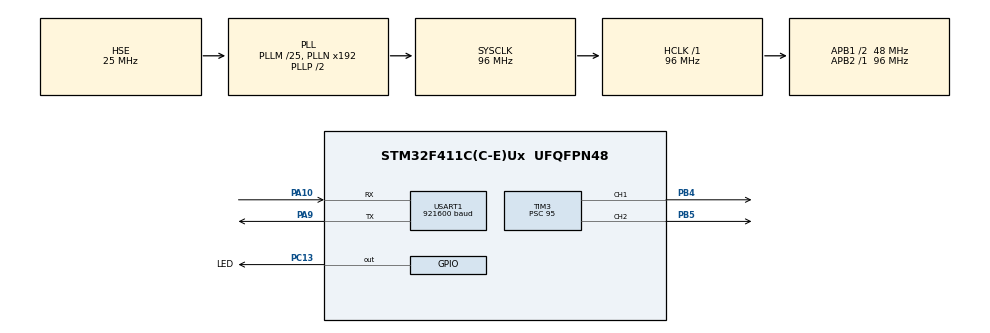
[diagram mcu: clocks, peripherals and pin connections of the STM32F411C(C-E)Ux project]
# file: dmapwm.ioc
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Dma.Request0=TIM3_CH1/TRIG
Dma.Request1=TIM3_CH2
Dma.TIM3_CH1/TRIG.0.Direction=DMA_MEMORY_TO_PERIPH
Dma.TIM3_CH1/TRIG.0.FIFOMode=DMA_FIFOMODE_DISABLE
Dma.TIM3_CH1/TRIG.0.Instance=DMA1_Stream4
Dma.TIM3_CH1/TRIG.0.MemDataAlignment=DMA_MDATAALIGN_HALFWORD
Dma.TIM3_CH1/TRIG.0.MemInc=DMA_MINC_ENABLE
Dma.TIM3_CH1/TRIG.0.Mode=DMA_CIRCULAR
Dma.TIM3_CH1/TRIG.0.PeriphDataAlignment=DMA_PDATAALIGN_HALFWORD
Dma.TIM3_CH1/TRIG.0.PeriphInc=DMA_PINC_DISABLE
Dma.TIM3_CH1/TRIG.0.Priority=DMA_PRIORITY_LOW
Dma.TIM3_CH2.1.Direction=DMA_MEMORY_TO_PERIPH
Dma.TIM3_CH2.1.FIFOMode=DMA_FIFOMODE_DISABLE
Dma.TIM3_CH2.1.Instance=DMA1_Stream5
Dma.TIM3_CH2.1.MemDataAlignment=DMA_MDATAALIGN_HALFWORD
Dma.TIM3_CH2.1.MemInc=DMA_MINC_ENABLE
Dma.TIM3_CH2.1.Mode=DMA_CIRCULAR
Dma.TIM3_CH2.1.PeriphDataAlignment=DMA_PDATAALIGN_HALFWORD
Dma.TIM3_CH2.1.PeriphInc=DMA_PINC_DISABLE
Dma.TIM3_CH2.1.Priority=DMA_PRIORITY_LOW
FREERTOS.Queues01=pwm1Queue,16,uint32_t,0,Dynamic,NULL,NULL;pwm2Queue,16,uint32_t,0,Dynamic,NULL,NULL
FREERTOS.Tasks01=defaultTask,24,128,startDefaultTask,Default,NULL,Dynamic,NULL,NULL;ledTask,8,128,startLedTask,Default,NULL,Dynamic,NULL,NULL;pwmBuf1Task,8,128,startPwmBuf1Task,Default,NULL,Dynamic,NULL,NULL;pwmBuf2Task,8,128,startPwmBuf2Task,Default,NULL,Dynamic,NULL,NULL;statusTask,8,256,startStatusTask,Default,NULL,Dynamic,NULL,NULL
FREERTOS.configCHECK_FOR_STACK_OVERFLOW=2
FREERTOS.configENABLE_BACKWARD_COMPATIBILITY=1
FREERTOS.configGENERATE_RUN_TIME_STATS=1
FREERTOS.configRECORD_STACK_HIGH_ADDRESS=1
FREERTOS.configTIMER_TASK_STACK_DEPTH=128
FREERTOS.configUSE_NEWLIB_REENTRANT=1
FREERTOS.configUSE_STATS_FORMATTING_FUNCTIONS=1
Mcu.Family=STM32F4
Mcu.Name=STM32F411C(C-E)Ux
Mcu.Package=UFQFPN48
Mcu.UserConstants=PWM_CNT,999
NVIC.DMA1_Stream4_IRQn=true\:5\:0\:false\:false\:true\:true\:false\:true
NVIC.DMA1_Stream5_IRQn=true\:5\:0\:false\:false\:true\:true\:false\:true
NVIC.PriorityGroup=NVIC_PRIORITYGROUP_4
NVIC.TIM1_TRG_COM_TIM11_IRQn=true\:15\:0\:false\:false\:true\:false\:false\:true
NVIC.TIM1_UP_TIM10_IRQn=true\:5\:0\:false\:false\:true\:true\:true\:true
NVIC.TIM3_IRQn=true\:5\:0\:false\:false\:true\:true\:true\:true
NVIC.TimeBase=TIM1_TRG_COM_TIM11_IRQn
NVIC.TimeBaseIP=TIM11
NVIC.USART1_IRQn=true\:5\:0\:false\:false\:true\:true\:true\:true
PA10.Mode=Asynchronous
PA10.Signal=USART1_RX
PA13.Mode=Serial_Wire
PA13.Signal=SYS_JTMS-SWDIO
PA14.Mode=Serial_Wire
PA14.Signal=SYS_JTCK-SWCLK
PA9.Mode=Asynchronous
PA9.Signal=USART1_TX
PB4.Signal=S_TIM3_CH1
PB5.Signal=S_TIM3_CH2
PC13-ANTI_TAMP.GPIO_Label=LED
PC13-ANTI_TAMP.GPIO_ModeDefaultOutputPP=GPIO_MODE_OUTPUT_OD
PC13-ANTI_TAMP.Signal=GPIO_Output
PH0\ -\ OSC_IN.Mode=HSE-External-Oscillator
PH0\ -\ OSC_IN.Signal=RCC_OSC_IN
PH1\ -\ OSC_OUT.Mode=HSE-External-Oscillator
PH1\ -\ OSC_OUT.Signal=RCC_OSC_OUT
ProjectManager.HeapSize=0x200
ProjectManager.StackSize=0x400
ProjectManager.TargetToolchain=STM32CubeIDE
RCC.48MHZClocksFreq_Value=48000000
RCC.AHBFreq_Value=96000000
RCC.APB1CLKDivider=RCC_HCLK_DIV2
RCC.APB1Freq_Value=48000000
RCC.APB1TimFreq_Value=96000000
RCC.APB2Freq_Value=96000000
RCC.APB2TimFreq_Value=96000000
RCC.CortexFreq_Value=96000000
RCC.HCLKFreq_Value=96000000
RCC.HSE_VALUE=25000000
RCC.HSI_VALUE=16000000
RCC.LSE_VALUE=32768
RCC.PLLM=25
RCC.PLLSourceVirtual=RCC_PLLSOURCE_HSE
RCC.SYSCLKFreq_VALUE=96000000
RCC.SYSCLKSource=RCC_SYSCLKSOURCE_PLLCLK
RCC.VCOOutputFreq_Value=192000000
SH.S_TIM3_CH1.0=TIM3_CH1,PWM Generation1 CH1
SH.S_TIM3_CH2.0=TIM3_CH2,PWM Generation2 CH2
TIM10.Period=959
TIM3.Channel-PWM\ Generation1\ CH1=TIM_CHANNEL_1
TIM3.Channel-PWM\ Generation2\ CH2=TIM_CHANNEL_2
TIM3.Period=PWM_CNT
TIM3.Prescaler=95
USART1.BaudRate=921600
USART1.VirtualMode=VM_ASYNC
VP_FREERTOS_VS_CMSIS_V2.Mode=CMSIS_V2
VP_SYS_VS_tim11.Mode=TIM11
VP_TIM10_VS_ClockSourceINT.Mode=Enable_Timer
VP_TIM3_VS_ClockSourceINT.Mode=Internal
board=custom

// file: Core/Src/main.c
/* USER CODE BEGIN Header */
/**
 ******************************************************************************
 * @file           : main.c
 * @brief          : Main program body
 ******************************************************************************
 * @attention
 *
 * <h2><center>&copy; Copyright (c) 2021 STMicroelectronics.
 * All rights reserved.</center></h2>
 *
 * This software component is licensed by ST under BSD 3-Clause license,
 * the "License"; You may not use this file except in compliance with the
 * License. You may obtain a copy of the License at:
 *                        opensource.org/licenses/BSD-3-Clause
 *
 ******************************************************************************
 */
/* USER CODE END Header */
#include "main.h"
#include "cmsis_os.h"

/* USER CODE BEGIN Includes */
#include "stdio.h"
/* USER CODE END Includes */

/* USER CODE BEGIN PD */
#define BUFFER_SIZE 10
/* USER CODE END PD */

TIM_HandleTypeDef htim3;
TIM_HandleTypeDef htim10;
DMA_HandleTypeDef hdma_tim3_ch1_trig;
DMA_HandleTypeDef hdma_tim3_ch2;

UART_HandleTypeDef huart1;

/* Definitions for defaultTask */
osThreadId_t defaultTaskHandle;
const osThreadAttr_t defaultTask_attributes = {
  .name = "defaultTask",
  .stack_size = 128 * 4,
  .priority = (osPriority_t) osPriorityNormal,
};
/* Definitions for ledTask */
osThreadId_t ledTaskHandle;
const osThreadAttr_t ledTask_attributes = {
  .name = "ledTask",
  .stack_size = 128 * 4,
  .priority = (osPriority_t) osPriorityLow,
};
/* Definitions for pwmBuf1Task */
osThreadId_t pwmBuf1TaskHandle;
const osThreadAttr_t pwmBuf1Task_attributes = {
  .name = "pwmBuf1Task",
  .stack_size = 128 * 4,
  .priority = (osPriority_t) osPriorityLow,
};
/* Definitions for pwmBuf2Task */
osThreadId_t pwmBuf2TaskHandle;
const osThreadAttr_t pwmBuf2Task_attributes = {
  .name = "pwmBuf2Task",
  .stack_size = 128 * 4,
  .priority = (osPriority_t) osPriorityLow,
};
/* Definitions for statusTask */
osThreadId_t statusTaskHandle;
const osThreadAttr_t statusTask_attributes = {
  .name = "statusTask",
  .stack_size = 256 * 4,
  .priority = (osPriority_t) osPriorityLow,
};
/* Definitions for pwm1Queue */
osMessageQueueId_t pwm1QueueHandle;
const osMessageQueueAttr_t pwm1Queue_attributes = {
  .name = "pwm1Queue"
};
/* Definitions for pwm2Queue */
osMessageQueueId_t pwm2QueueHandle;
const osMessageQueueAttr_t pwm2Queue_attributes = {
  .name = "pwm2Queue"
};
/* USER CODE BEGIN PV */

volatile unsigned long ulHighFrequencyTimerTicks;

uint16_t dma_buffer1[BUFFER_SIZE * 2] = { 0 };
uint16_t dma_buffer2[BUFFER_SIZE * 2] = { 0 };
uint16_t pwm_value = 0;
/* USER CODE END PV */

void SystemClock_Config(void);
static void MX_GPIO_Init(void);
static void MX_DMA_Init(void);
static void MX_USART1_UART_Init(void);
static void MX_TIM3_Init(void);
static void MX_TIM10_Init(void);
void startDefaultTask(void *argument);
void startLedTask(void *argument);
void startPwmBuf1Task(void *argument);
void startPwmBuf2Task(void *argument);
void startStatusTask(void *argument);

/* USER CODE BEGIN 0 */

// Send printf to uart1
int _write(int fd, char *ptr, int len) {
	HAL_StatusTypeDef hstatus;

	if (fd == 1 || fd == 2) {
		hstatus = HAL_UART_Transmit(&huart1, (uint8_t*) ptr, len,
				HAL_MAX_DELAY);
		if (hstatus == HAL_OK)
			return len;
		else
			return -1;
	}
	return -1;
}

// Done sending first half of the DMA buffer - this can now safely be updated
void HAL_TIM_PWM_PulseFinishedHalfCpltCallback(TIM_HandleTypeDef *htim) {

	BaseType_t xHigherPriorityTaskWoken = pdFALSE;

	if (htim->Instance == TIM3) {
		if (htim->Channel == HAL_TIM_ACTIVE_CHANNEL_1) {
			xTaskGenericNotifyFromISR(pwmBuf1TaskHandle,
					(uint32_t) &dma_buffer1[0], eSetValueWithOverwrite, NULL,
					&xHigherPriorityTaskWoken);
		} else {
			xTaskGenericNotifyFromISR(pwmBuf2TaskHandle,
					(uint32_t) &dma_buffer2[0], eSetValueWithOverwrite, NULL,
					&xHigherPriorityTaskWoken);
		}
		//update_next_buffer(&dma_buffer[BUFFER_SIZE]);
	}

}

// Done sending the second half of the DMA buffer - this can now be safely updated
void HAL_TIM_PWM_PulseFinishedCallback(TIM_HandleTypeDef *htim) {

	BaseType_t xHigherPriorityTaskWoken = pdFALSE;

	if (htim->Instance == TIM3) {
		if (htim->Channel == HAL_TIM_ACTIVE_CHANNEL_1) {
			xTaskGenericNotifyFromISR(pwmBuf1TaskHandle,
					(uint32_t) &dma_buffer1[BUFFER_SIZE],
					eSetValueWithOverwrite, NULL, &xHigherPriorityTaskWoken);
		} else {
			xTaskGenericNotifyFromISR(pwmBuf2TaskHandle,
					(uint32_t) &dma_buffer2[BUFFER_SIZE],
					eSetValueWithOverwrite, NULL, &xHigherPriorityTaskWoken);
		}
		//update_next_buffer(&dma_buffer[BUFFER_SIZE]);
	}

}

void configureTimerForRunTimeStats(void) {
	ulHighFrequencyTimerTicks = 0;
	HAL_TIM_Base_Start_IT(&htim10);
}

unsigned long getRunTimeCounterValue(void) {
	return ulHighFrequencyTimerTicks;
}

/* USER CODE END 0 */

int main(void)
{

  /* MCU Configuration--------------------------------------------------------*/

  /* Reset of all peripherals, Initializes the Flash interface and the Systick. */
  HAL_Init();

  /* Configure the system clock */
  SystemClock_Config();

  /* Initialize all configured peripherals */
  MX_GPIO_Init();
  MX_DMA_Init();
  MX_USART1_UART_Init();
  MX_TIM3_Init();
  MX_TIM10_Init();
  /* USER CODE BEGIN 2 */

	HAL_Delay(3000);

	DBG("\n\n\nFiring up!");

  /* USER CODE END 2 */

  /* Init scheduler */
  osKernelInitialize();

  /* Create the queue(s) */
  /* creation of pwm1Queue */
  pwm1QueueHandle = osMessageQueueNew (16, sizeof(uint32_t), &pwm1Queue_attributes);

  /* creation of pwm2Queue */
  pwm2QueueHandle = osMessageQueueNew (16, sizeof(uint32_t), &pwm2Queue_attributes);

  /* Create the thread(s) */
  /* creation of defaultTask */
  defaultTaskHandle = osThreadNew(startDefaultTask, NULL, &defaultTask_attributes);

  /* creation of ledTask */
  ledTaskHandle = osThreadNew(startLedTask, NULL, &ledTask_attributes);

  /* creation of pwmBuf1Task */
  pwmBuf1TaskHandle = osThreadNew(startPwmBuf1Task, NULL, &pwmBuf1Task_attributes);

  /* creation of pwmBuf2Task */
  pwmBuf2TaskHandle = osThreadNew(startPwmBuf2Task, NULL, &pwmBuf2Task_attributes);

  /* creation of statusTask */
  statusTaskHandle = osThreadNew(startStatusTask, NULL, &statusTask_attributes);

  /* Start scheduler */
  osKernelStart();

  /* We should never get here as control is now taken by the scheduler */
  /* Infinite loop */
	while (1) {

	}
}

void SystemClock_Config(void)
{
  RCC_OscInitTypeDef RCC_OscInitStruct = {0};
  RCC_ClkInitTypeDef RCC_ClkInitStruct = {0};

  /** Configure the main internal regulator output voltage
  */
  __HAL_RCC_PWR_CLK_ENABLE();
  __HAL_PWR_VOLTAGESCALING_CONFIG(PWR_REGULATOR_VOLTAGE_SCALE1);
  /** Initializes the RCC Oscillators according to the specified parameters
  * in the RCC_OscInitTypeDef structure.
  */
  RCC_OscInitStruct.OscillatorType = RCC_OSCILLATORTYPE_HSE;
  RCC_OscInitStruct.HSEState = RCC_HSE_ON;
  RCC_OscInitStruct.PLL.PLLState = RCC_PLL_ON;
  RCC_OscInitStruct.PLL.PLLSource = RCC_PLLSOURCE_HSE;
  RCC_OscInitStruct.PLL.PLLM = 25;
  RCC_OscInitStruct.PLL.PLLN = 192;
  RCC_OscInitStruct.PLL.PLLP = RCC_PLLP_DIV2;
  RCC_OscInitStruct.PLL.PLLQ = 4;
  if (HAL_RCC_OscConfig(&RCC_OscInitStruct) != HAL_OK)
  {
    Error_Handler();
  }
  /** Initializes the CPU, AHB and APB buses clocks
  */
  RCC_ClkInitStruct.ClockType = RCC_CLOCKTYPE_HCLK|RCC_CLOCKTYPE_SYSCLK
                              |RCC_CLOCKTYPE_PCLK1|RCC_CLOCKTYPE_PCLK2;
  RCC_ClkInitStruct.SYSCLKSource = RCC_SYSCLKSOURCE_PLLCLK;
  RCC_ClkInitStruct.AHBCLKDivider = RCC_SYSCLK_DIV1;
  RCC_ClkInitStruct.APB1CLKDivider = RCC_HCLK_DIV2;
  RCC_ClkInitStruct.APB2CLKDivider = RCC_HCLK_DIV1;

  if (HAL_RCC_ClockConfig(&RCC_ClkInitStruct, FLASH_LATENCY_3) != HAL_OK)
  {
    Error_Handler();
  }
}

static void MX_TIM3_Init(void)
{

  TIM_ClockConfigTypeDef sClockSourceConfig = {0};
  TIM_MasterConfigTypeDef sMasterConfig = {0};
  TIM_OC_InitTypeDef sConfigOC = {0};

  htim3.Instance = TIM3;
  htim3.Init.Prescaler = 95;
  htim3.Init.CounterMode = TIM_COUNTERMODE_UP;
  htim3.Init.Period = PWM_CNT;
  htim3.Init.ClockDivision = TIM_CLOCKDIVISION_DIV1;
  htim3.Init.AutoReloadPreload = TIM_AUTORELOAD_PRELOAD_DISABLE;
  if (HAL_TIM_Base_Init(&htim3) != HAL_OK)
  {
    Error_Handler();
  }
  sClockSourceConfig.ClockSource = TIM_CLOCKSOURCE_INTERNAL;
  if (HAL_TIM_ConfigClockSource(&htim3, &sClockSourceConfig) != HAL_OK)
  {
    Error_Handler();
  }
  if (HAL_TIM_PWM_Init(&htim3) != HAL_OK)
  {
    Error_Handler();
  }
  sMasterConfig.MasterOutputTrigger = TIM_TRGO_RESET;
  sMasterConfig.MasterSlaveMode = TIM_MASTERSLAVEMODE_DISABLE;
  if (HAL_TIMEx_MasterConfigSynchronization(&htim3, &sMasterConfig) != HAL_OK)
  {
    Error_Handler();
  }
  sConfigOC.OCMode = TIM_OCMODE_PWM1;
  sConfigOC.Pulse = 0;
  sConfigOC.OCPolarity = TIM_OCPOLARITY_HIGH;
  sConfigOC.OCFastMode = TIM_OCFAST_DISABLE;
  if (HAL_TIM_PWM_ConfigChannel(&htim3, &sConfigOC, TIM_CHANNEL_1) != HAL_OK)
  {
    Error_Handler();
  }
  if (HAL_TIM_PWM_ConfigChannel(&htim3, &sConfigOC, TIM_CHANNEL_2) != HAL_OK)
  {
    Error_Handler();
  }
  HAL_TIM_MspPostInit(&htim3);

}

static void MX_TIM10_Init(void)
{

  htim10.Instance = TIM10;
  htim10.Init.Prescaler = 0;
  htim10.Init.CounterMode = TIM_COUNTERMODE_UP;
  htim10.Init.Period = 959;
  htim10.Init.ClockDivision = TIM_CLOCKDIVISION_DIV1;
  htim10.Init.AutoReloadPreload = TIM_AUTORELOAD_PRELOAD_DISABLE;
  if (HAL_TIM_Base_Init(&htim10) != HAL_OK)
  {
    Error_Handler();
  }

}

static void MX_USART1_UART_Init(void)
{

  huart1.Instance = USART1;
  huart1.Init.BaudRate = 921600;
  huart1.Init.WordLength = UART_WORDLENGTH_8B;
  huart1.Init.StopBits = UART_STOPBITS_1;
  huart1.Init.Parity = UART_PARITY_NONE;
  huart1.Init.Mode = UART_MODE_TX_RX;
  huart1.Init.HwFlowCtl = UART_HWCONTROL_NONE;
  huart1.Init.OverSampling = UART_OVERSAMPLING_16;
  if (HAL_UART_Init(&huart1) != HAL_OK)
  {
    Error_Handler();
  }

}

static void MX_DMA_Init(void)
{

  /* DMA controller clock enable */
  __HAL_RCC_DMA1_CLK_ENABLE();

  /* DMA interrupt init */
  /* DMA1_Stream4_IRQn interrupt configuration */
  HAL_NVIC_SetPriority(DMA1_Stream4_IRQn, 5, 0);
  HAL_NVIC_EnableIRQ(DMA1_Stream4_IRQn);
  /* DMA1_Stream5_IRQn interrupt configuration */
  HAL_NVIC_SetPriority(DMA1_Stream5_IRQn, 5, 0);
  HAL_NVIC_EnableIRQ(DMA1_Stream5_IRQn);

}

static void MX_GPIO_Init(void)
{
  GPIO_InitTypeDef GPIO_InitStruct = {0};

  /* GPIO Ports Clock Enable */
  __HAL_RCC_GPIOC_CLK_ENABLE();
  __HAL_RCC_GPIOH_CLK_ENABLE();
  __HAL_RCC_GPIOA_CLK_ENABLE();
  __HAL_RCC_GPIOB_CLK_ENABLE();

  /*Configure GPIO pin Output Level */
  HAL_GPIO_WritePin(LED_GPIO_Port, LED_Pin, GPIO_PIN_RESET);

  /*Configure GPIO pin : LED_Pin */
  GPIO_InitStruct.Pin = LED_Pin;
  GPIO_InitStruct.Mode = GPIO_MODE_OUTPUT_OD;
  GPIO_InitStruct.Pull = GPIO_NOPULL;
  GPIO_InitStruct.Speed = GPIO_SPEED_FREQ_LOW;
  HAL_GPIO_Init(LED_GPIO_Port, &GPIO_InitStruct);

}

void startDefaultTask(void *argument)
{
  /* USER CODE BEGIN 5 */
	/* Infinite loop */
	for (;;) {
		osDelay(1000);
		DBG("Tick %lu", osKernelGetTickCount() / 1000);
	}
  /* USER CODE END 5 */
}

void startLedTask(void *argument)
{
  /* USER CODE BEGIN startLedTask */

	/* Infinite loop */
	for (;;) {
		osDelay(500);
		HAL_GPIO_TogglePin(LED_GPIO_Port, LED_Pin);
	}
  /* USER CODE END startLedTask */
}

void startPwmBuf1Task(void *argument)
{
  /* USER CODE BEGIN startPwmBuf1Task */

	HAL_TIM_PWM_Start_DMA(&htim3, TIM_CHANNEL_1, (uint32_t*) &dma_buffer1,
			BUFFER_SIZE * 2);

	int32_t counter_change = 1;
	int32_t counter = 10;
	uint32_t notificationValue;
	uint16_t *buffer_pointer;

	/* Infinite loop */
	for (;;) {

		xTaskNotifyWait(0, 0, &notificationValue, osWaitForever);

		buffer_pointer = (uint16_t*) notificationValue;

		for (int i = 0; i < BUFFER_SIZE; i++) {
			*buffer_pointer = counter;
			buffer_pointer++;
		}

		counter += counter_change;
		if (counter <= 10) {
			counter_change = 1;
		}
		if (counter >= PWM_CNT - 10) {
			counter_change = -1;
		}

	}
  /* USER CODE END startPwmBuf1Task */
}

void startPwmBuf2Task(void *argument)
{
  /* USER CODE BEGIN startPwmBuf2Task */

	HAL_TIM_PWM_Start_DMA(&htim3, TIM_CHANNEL_2, (uint32_t*) &dma_buffer2,
			BUFFER_SIZE * 2);

	int32_t counter = 10;
	int32_t counter_change = 1;
	uint32_t notificationValue;
	uint16_t *buffer_pointer;

	/* Infinite loop */
	for (;;) {
		xTaskNotifyWait(0, 0, &notificationValue, osWaitForever);
		//DBG("2 Got %x", notificationValue);

		buffer_pointer = (uint16_t*) notificationValue;
		for (int i = 0; i < BUFFER_SIZE; i++) {
			*buffer_pointer = counter;
			buffer_pointer++;

			counter += counter_change;
			if (counter <= 10) {
				counter_change = 1;
			}
			if (counter >= PWM_CNT - 10) {
				counter_change = -1;
			}
		}

	}
  /* USER CODE END startPwmBuf2Task */
}

void startStatusTask(void *argument)
{
  /* USER CODE BEGIN startStatusTask */

	TaskStatus_t *pxTaskStatusArray;
	volatile UBaseType_t uxArraySize, x;
	unsigned long ulTotalRunTime;
	float runtime_percent;

	/* Infinite loop */
	for (;;) {
		osDelay(10000);

		uxArraySize = uxTaskGetNumberOfTasks();
		pxTaskStatusArray = pvPortMalloc(uxArraySize * sizeof(TaskStatus_t)); // a little bit scary!

		if (pxTaskStatusArray != NULL) {
			uxArraySize = uxTaskGetSystemState(pxTaskStatusArray, uxArraySize,
					&ulTotalRunTime);

			DBG("Task count = %lu", uxArraySize);
			DBG("No      Name          S Usage   HW");

			for (x = 0; x < uxArraySize; x++) {

				runtime_percent = (float) (100
						* (float) pxTaskStatusArray[x].ulRunTimeCounter
						/ (float) ulTotalRunTime);

				DBG("Task %lu: %-12s %2d %7.4f %4i", x,
						pxTaskStatusArray[x].pcTaskName,
						pxTaskStatusArray[x].eCurrentState, runtime_percent,
						pxTaskStatusArray[x].usStackHighWaterMark);

			}

			vPortFree(pxTaskStatusArray);

		} else {
			DBG("Unable to allocate stack space");
		}

	}

  /* USER CODE END startStatusTask */
}

void HAL_TIM_PeriodElapsedCallback(TIM_HandleTypeDef *htim)
{
  if (htim->Instance == TIM11) {
    HAL_IncTick();
  }
}

void Error_Handler(void)
{
	__disable_irq();
	while (1) {
	}
}

/************************ (C) COPYRIGHT STMicroelectronics *****END OF FILE****/

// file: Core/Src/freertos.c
/* USER CODE BEGIN Header */
/**
  ******************************************************************************
  * File Name          : freertos.c
  * Description        : Code for freertos applications
  ******************************************************************************
  * @attention
  *
  * <h2><center>&copy; Copyright (c) 2021 STMicroelectronics.
  * All rights reserved.</center></h2>
  *
  * This software component is licensed by ST under Ultimate Liberty license
  * SLA0044, the "License"; You may not use this file except in compliance with
  * the License. You may obtain a copy of the License at:
  *                             www.st.com/SLA0044
  *
  ******************************************************************************
  */
/* USER CODE END Header */

#include "FreeRTOS.h"
#include "task.h"
#include "main.h"

/* USER CODE BEGIN Variables */
uint32_t stack_overflow_count = 0;
/* USER CODE END Variables */

/* Hook prototypes */
void configureTimerForRunTimeStats(void);
unsigned long getRunTimeCounterValue(void);
void vApplicationStackOverflowHook(xTaskHandle xTask, signed char *pcTaskName);

/* USER CODE BEGIN 1 */
/* Functions needed when configGENERATE_RUN_TIME_STATS is on */
__weak void configureTimerForRunTimeStats(void)
{

}

__weak unsigned long getRunTimeCounterValue(void)
{
	return 0;
}
/* USER CODE END 1 */

/* USER CODE BEGIN 4 */
void vApplicationStackOverflowHook(TaskHandle_t xTask, signed char *pcTaskName)
{
   /* Run time stack overflow checking is performed if
   configCHECK_FOR_STACK_OVERFLOW is defined to 1 or 2. This hook function is
   called if a stack overflow is detected. */
        DBG("Stack Overflow %s", pcTaskName);
        stack_overflow_count++;
        //Error_Handler();
}
/* USER CODE END 4 */

/************************ (C) COPYRIGHT STMicroelectronics *****END OF FILE****/
